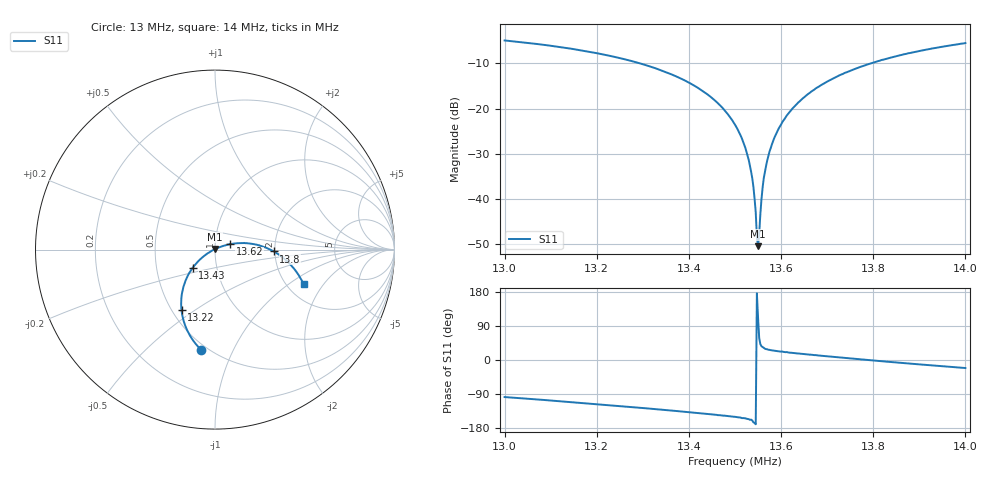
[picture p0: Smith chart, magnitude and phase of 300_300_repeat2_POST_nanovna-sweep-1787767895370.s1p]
! S11 from 300_300_repeat2_POST_nanovna-sweep-1787767895370.csv, converted by the rf-network-modeller history importer
# HZ S RI R 50
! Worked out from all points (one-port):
!   401 points, 13 MHz to 14 MHz, reference 50 ohm
!   lowest |S11| = -50.4 dB at 13.55 MHz (marker M1), VSWR 1.01, Z = 49.9 + j0.279 ohm
!   |S11| at or under -10 dB: 13.29 MHz to 13.8 MHz (502.6 kHz wide, 3.71 % of centre)
!   S11 on the Smith chart (normalised r, x): 13 MHz: 0.46, -0.76; 13.22 MHz: 0.56, -0.44; 13.43 MHz: 0.77, -0.16; 13.62 MHz: 1.18, +0.07; 13.8 MHz: 1.97, -0.04; 14 MHz: 2.45, -1.30
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1.3e7  -0.0765 -0.5601
1.3125e7  -0.1558 -0.448
1.3225e7  -0.1865 -0.3374
1.325e7  -0.1888 -0.3078
1.3375e7  -0.1576 -0.1583
1.34275e7  -0.1237 -0.1006
1.34675e7  -0.0896 -0.0612
1.35e7  -0.0574 -0.0333
1.35175e7  -0.0385 -0.0195
1.353e7  -0.0245 -0.0108
1.35375e7  -0.0159 -0.00588
1.354e7  -0.0131 -0.00363
1.3545e7  -0.007 -0.00128
1.35475e7  -0.00378 0.000279
1.355e7  -0.00113 0.00279
1.35525e7  0.00216 0.0035
1.356e7  0.0111 0.0076
1.35625e7  0.0145 0.00909
1.35675e7  0.0204 0.0112
1.35725e7  0.0269 0.0137
1.359e7  0.0488 0.0214
1.36175e7  0.0847 0.03
1.3625e7  0.095 0.0323
1.368e7  0.1684 0.0358
1.375e7  0.261 0.019
1.3805e7  0.3269 -0.0101
1.3875e7  0.402 -0.0644
1.4e7  0.4931 -0.1912
